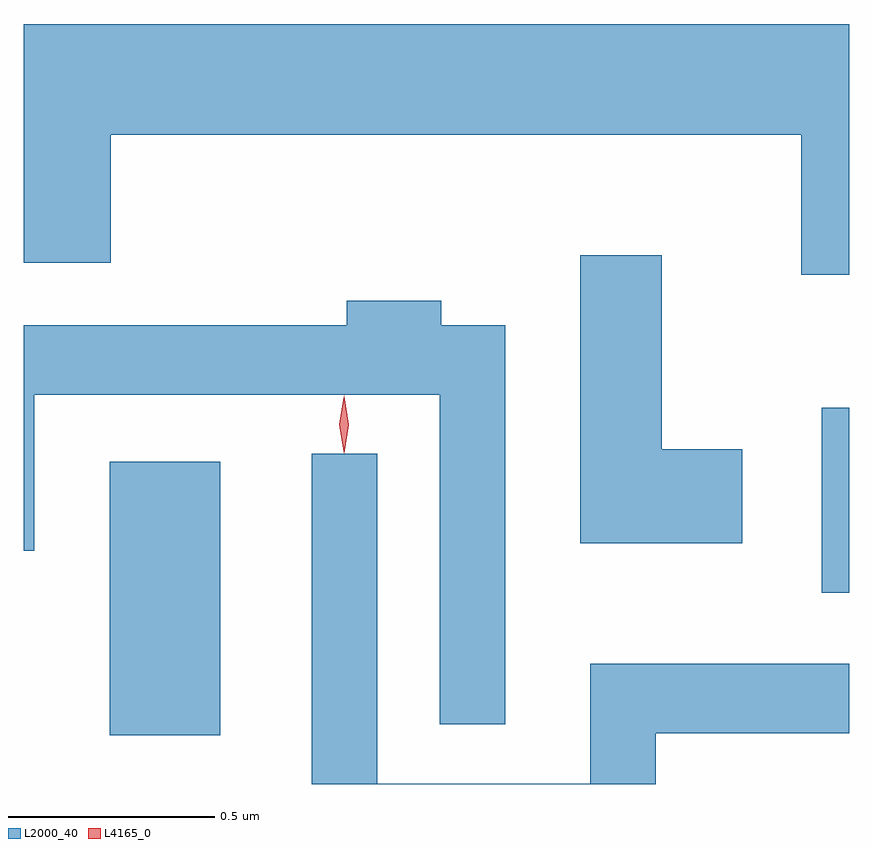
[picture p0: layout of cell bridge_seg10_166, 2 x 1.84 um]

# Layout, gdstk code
import gdstk
lib = gdstk.Library(unit=1e-6, precision=1e-09)
def R(c, l, rs):  # rectangles x0, y0, x1, y1
    for r in rs: c.add(gdstk.rectangle(r[:2], r[2:], *l))
def P(c, l, *ps):  # polygons
    for p in ps: c.add(gdstk.Polygon(p, *l))
L2000_40 = (2000, 40)
L4165_0 = (4165, 0)

bridge_seg10_166 = lib.new_cell('bridge_seg10_166')
R(bridge_seg10_166, L2000_40, [(1657.526,2101.361,1657.794,2102.024), (1659.251,2101.706,1659.318,2102.154)])
P(bridge_seg10_166, L2000_40, [(1659.318,2103.084),(1657.318,2103.084),(1657.318,2102.506),(1657.529,2102.506),(1657.529,2102.816),(1659.201,2102.816),(1659.201,2102.476),(1659.318,2102.476)],
  [(1659.059,2102.054),(1658.864,2102.054),(1658.864,2102.524),(1658.666,2102.524),(1658.666,2101.826),(1659.059,2101.826)],
  [(1658.484,2102.354),(1658.329,2102.354),(1658.329,2102.414),(1658.101,2102.414),(1658.101,2102.354),(1657.318,2102.354),(1657.318,2101.808),(1657.344,2101.808),(1657.344,2102.186),(1658.326,2102.186),(1658.326,2101.388),(1658.484,2101.388)],
  [(1658.849,2101.366),(1659.318,2101.366),(1659.318,2101.534),(1658.691,2101.534),(1658.691,2101.244),(1658.174,2101.244),(1658.174,2102.043),(1658.016,2102.043),(1658.016,2101.243),(1658.849,2101.243)])
P(bridge_seg10_166, L4165_0, [(1658.093,2102.047),(1658.093,2102.048),(1658.083,2102.114),(1658.093,2102.18),(1658.093,2102.18),(1658.094,2102.18),(1658.103,2102.114),(1658.094,2102.048)],
  [(1658.094,2102.044),(1658.085,2102.113),(1658.094,2102.182),(1658.095,2102.183),(1658.095,2102.182),(1658.105,2102.113),(1658.095,2102.044),(1658.095,2102.044)])

lib.write_gds('bridge_seg10_166.gds')
